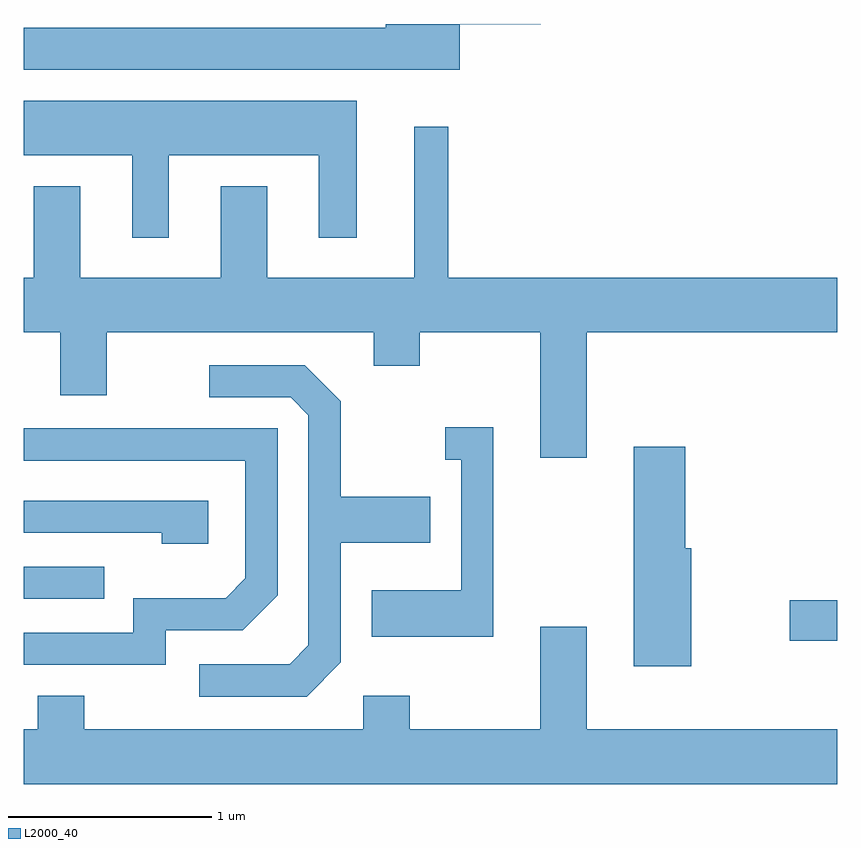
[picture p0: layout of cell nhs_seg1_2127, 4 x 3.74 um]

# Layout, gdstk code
import gdstk
lib = gdstk.Library(unit=1e-6, precision=1e-09)
def R(c, l, rs):  # rectangles x0, y0, x1, y1
    for r in rs: c.add(gdstk.rectangle(r[:2], r[2:], *l))
def P(c, l, *ps):  # polygons
    for p in ps: c.add(gdstk.Polygon(p, *l))
L2000_40 = (2000, 40)

nhs_seg1_2127 = lib.new_cell('nhs_seg1_2127')
R(nhs_seg1_2127, L2000_40, [(253.376,944.681,253.611,944.879), (249.611,944.886,250.008,945.044)])
P(nhs_seg1_2127, L2000_40, [(251.754,947.711),(252.154,947.711),(252.154,947.712),(251.391,947.712),(251.391,947.694),(249.611,947.694),(249.611,947.486),(251.754,947.486)],
  [(250.324,947.066),(251.061,947.066),(251.061,946.661),(251.249,946.661),(251.249,947.334),(249.611,947.334),(249.611,947.066),(250.146,947.066),(250.146,946.661),(250.324,946.661)],
  [(252.379,946.196),(253.611,946.196),(253.611,946.464),(251.699,946.464),(251.699,947.208),(251.531,947.208),(251.531,946.464),(250.809,946.464),(250.809,946.914),(250.581,946.914),(250.581,946.464),(249.889,946.464),(249.889,946.914),(249.661,946.914),(249.661,946.464),(249.611,946.464),(249.611,946.196),(249.791,946.196),(249.791,945.886),(250.019,945.886),(250.019,946.196),(251.331,946.196),(251.331,946.031),(251.559,946.031),(251.559,946.196),(252.151,946.196),(252.151,945.581),(252.379,945.581)],
  [(251.169,944.574),(251.169,945.161),(251.609,945.161),(251.609,945.389),(251.169,945.389),(251.169,945.857),(250.992,946.034),(250.523,946.034),(250.523,945.876),(250.924,945.876),(251.011,945.789),(251.011,944.657),(250.919,944.564),(250.473,944.564),(250.473,944.406),(251.002,944.406)],
  [(251.919,945.729),(251.683,945.729),(251.683,945.571),(251.761,945.571),(251.761,944.929),(251.321,944.929),(251.321,944.701),(251.919,944.701)],
  [(250.309,944.731),(250.687,944.731),(250.859,944.904),(250.859,945.724),(249.611,945.724),(249.611,945.566),(250.701,945.566),(250.701,944.987),(250.604,944.889),(250.151,944.889),(250.151,944.719),(249.611,944.719),(249.611,944.561),(250.309,944.561)],
  [(252.894,945.134),(252.864,945.134),(252.864,945.634),(252.611,945.634),(252.611,944.556),(252.894,944.556)],
  [(250.519,945.369),(249.611,945.369),(249.611,945.211),(250.291,945.211),(250.291,945.156),(250.519,945.156)],
  [(253.611,944.244),(252.379,944.244),(252.379,944.749),(252.151,944.749),(252.151,944.244),(251.509,944.244),(251.509,944.409),(251.281,944.409),(251.281,944.244),(249.909,944.244),(249.909,944.409),(249.681,944.409),(249.681,944.244),(249.611,944.244),(249.611,943.976),(253.611,943.976)])

lib.write_gds('nhs_seg1_2127.gds')
